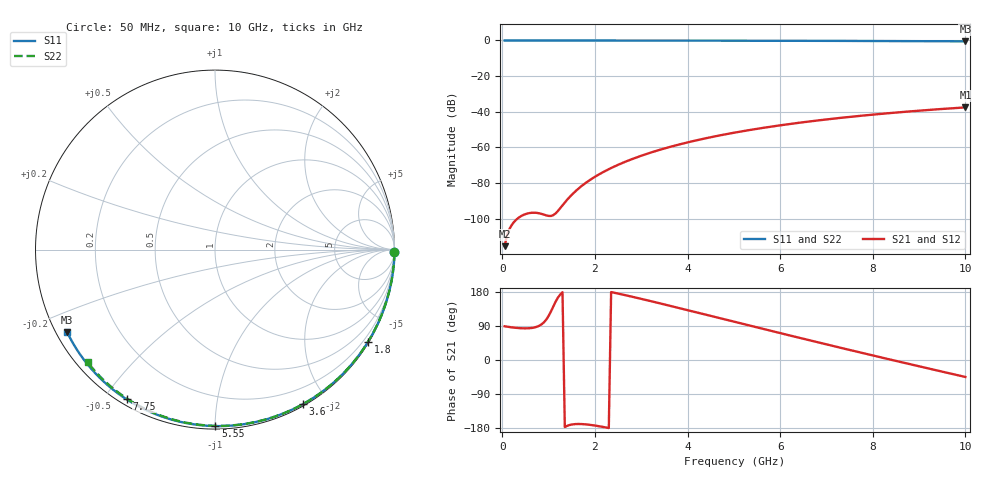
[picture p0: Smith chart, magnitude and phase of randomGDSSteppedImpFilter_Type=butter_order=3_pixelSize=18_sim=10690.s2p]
! freq	dB(S11)	phase(S11)	dB(S12)	phase(S12)
!  dB(S21)	phase(S21)	dB(S22)	phase(S22)
!S-par simulation data
#  GHz  S  DB  R 50
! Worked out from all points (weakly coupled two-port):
!   200 points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, 50 MHz to 10 GHz, reference 50 ohm
!   highest |S21| = -37.54 dB at 10 GHz (marker M1); lowest = -115.4 dB at 50 MHz (marker M2)
!   lowest |S11| = -0.5 dB at 10 GHz (marker M3), VSWR 34.52, Z = 1.55 - j13 ohm
!   |S11| at or under -10 dB: nowhere
!   |S22| runs from -0.5 to 0.0 dB; largest |S21 - S12| = 0
!   S11 on the Smith chart (normalised r, x): 50 MHz: open; 1.8 GHz: 0.03, -3.61; 3.6 GHz: 0.02, -1.72; 5.55 GHz: 0.02, -1.00; 7.75 GHz: 0.02, -0.57; 10 GHz: 0.03, -0.26
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0.05  -0.00 -0.9  -115.37 89.0  -115.37 89.0  -0.00 -0.8
0.45  -0.01 -7.9  -97.92 83.6  -97.92 83.6  -0.01 -7.2
0.9  -0.02 -15.7  -97.68 99.6  -97.68 99.6  -0.02 -14.3
1.3  -0.03 -22.5  -92.45 178.8  -92.45 178.8  -0.03 -20.6
1.75  -0.04 -30.2  -80.88 -169.3  -80.88 -169.3  -0.04 -27.6
1.8  -0.04 -31.0  -79.91 -169.8  -79.91 -169.8  -0.04 -28.4
1.95  -0.04 -33.5  -77.27 -172.0  -77.27 -172.0  -0.04 -30.7
2.1  -0.05 -36.0  -74.94 -174.9  -74.94 -174.9  -0.04 -33.0
2.3  -0.05 -39.4  -72.18 -179.6  -72.18 -179.6  -0.05 -36.1
2.5  -0.05 -42.7  -69.75 175.3  -69.75 175.3  -0.05 -39.1
2.9  -0.06 -49.2  -65.58 164.3  -65.58 164.3  -0.06 -45.2
3.4  -0.08 -57.2  -61.33 149.6  -61.33 149.6  -0.07 -52.6
3.6  -0.08 -60.4  -59.84 143.6  -59.84 143.6  -0.07 -55.5
4.3  -0.10 -71.3  -55.38 122.5  -55.38 122.5  -0.09 -65.5
5.05  -0.13 -82.5  -51.53 99.7  -51.53 99.7  -0.12 -76.0
5.55  -0.15 -89.9  -49.35 84.5  -49.35 84.5  -0.14 -82.8
6.1  -0.17 -97.7  -47.24 68.0  -47.24 68.0  -0.16 -90.1
6.7  -0.21 -106.2  -45.21 50.1  -45.21 50.1  -0.19 -97.8
7.75  -0.28 -120.5  -42.22 19.3  -42.22 19.3  -0.26 -111.1
8.35  -0.33 -128.6  -40.77 1.9  -40.77 1.9  -0.30 -118.5
9.2  -0.41 -140.0  -38.98 -22.3  -38.98 -22.3  -0.38 -128.8
10  -0.50 -150.7  -37.54 -44.8  -37.54 -44.8  -0.47 -138.4
